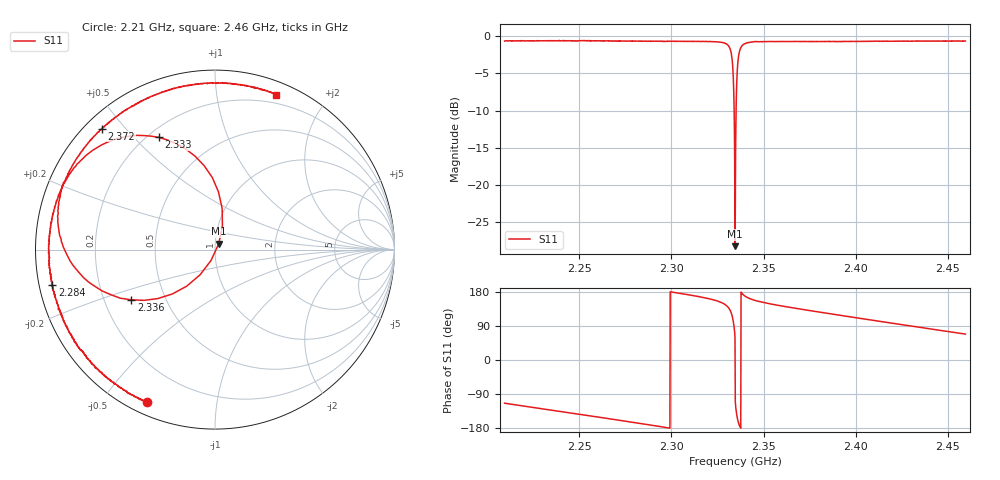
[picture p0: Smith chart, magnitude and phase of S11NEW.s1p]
!Agilent N9918A: A.07.57
!Date: Wednesday, 21 January 2015 17:23:19
!TimeZone: (GMT+08:00) Kuala Lumpur, Singapore!Model: N9918A
!Serial: MY53103598
!GPS Latitude:
!GPS Longitude:
!GPS TimeStamp: 0001-01-01 00:00:00Z
!GPS Seconds Since Last Read: 0
!CHECKSUM:1423744009
!Correction: S11(ON U?)
!S1P File: Measurement: S11:
# Hz S DB R 50
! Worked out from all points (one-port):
!   1601 points, 2.21 GHz to 2.46 GHz, reference 50 ohm
!   lowest |S11| = -28.3 dB at 2.335 GHz (marker M1), VSWR 1.08, Z = 52 + j3.38 ohm
!   |S11| at or under -10 dB: 2.334072 GHz to 2.335111 GHz (1.04 MHz wide, 0.0445 % of centre)
!   S11 on the Smith chart (normalised r, x): 2.21 GHz: 0.05, -0.65; 2.284 GHz: 0.04, -0.11; 2.333 GHz: 0.24, +0.59; 2.336 GHz: 0.32, -0.25; 2.372 GHz: 0.05, +0.43; 2.46 GHz: 0.12, +1.47
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2.209531e9  -0.64 -113.9
2.240781e9  -0.58 -136.7
2.272031e9  -0.65 -159.3
2.283594e9  -0.66 -167.8
2.303281e9  -0.66 176.9
2.319531e9  -0.71 162.7
2.327344e9  -0.81 151.4
2.329531e9  -0.99 145.1
2.330938e9  -1.25 138.6
2.332188e9  -1.94 128.0
2.332969e9  -3.11 116.6
2.333594e9  -5.47 102.1
2.334062e9  -9.84 86.6
2.334531e9  -28.26 57.2
2.335156e9  -9.29 -133.9
2.335625e9  -5.30 -149.0
2.336094e9  -3.48 -159.9
2.336719e9  -2.30 -170.3
2.337812e9  -1.46 179.1
2.339375e9  -1.06 170.7
2.342188e9  -0.82 162.8
2.346562e9  -0.72 155.7
2.354062e9  -0.70 147.7
2.365781e9  -0.70 137.8
2.371719e9  -0.70 133.1
2.397031e9  -0.69 113.9
2.428281e9  -0.66 90.9
2.459531e9  -0.64 68.4
